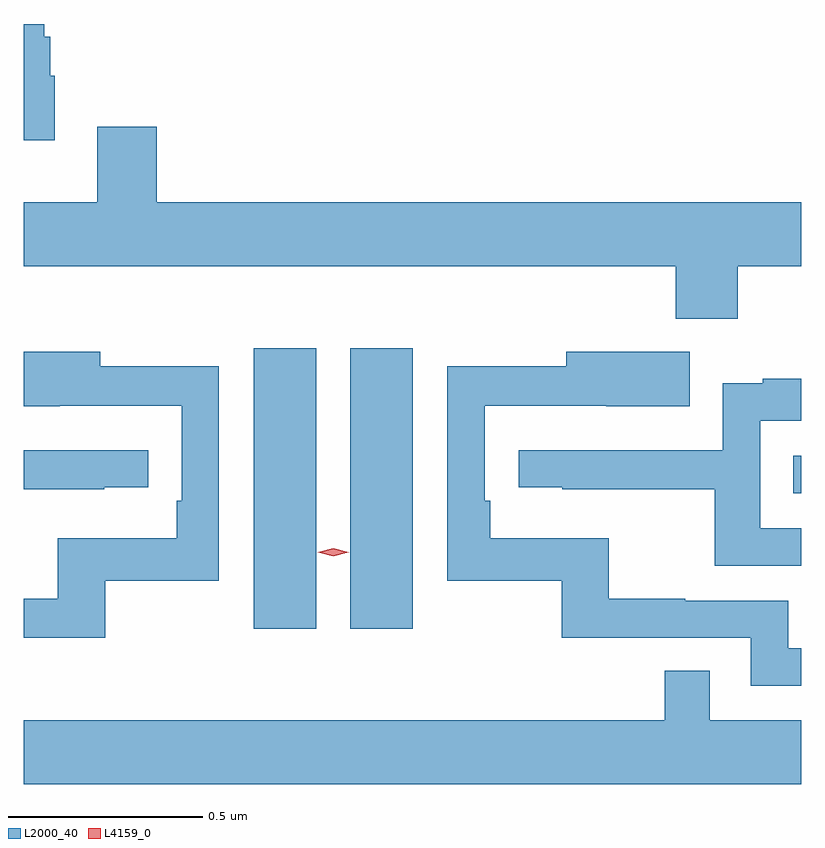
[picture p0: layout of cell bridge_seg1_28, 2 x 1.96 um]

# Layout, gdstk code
import gdstk
lib = gdstk.Library(unit=1e-6, precision=1e-09)
def R(c, l, rs):  # rectangles x0, y0, x1, y1
    for r in rs: c.add(gdstk.rectangle(r[:2], r[2:], *l))
def P(c, l, *ps):  # polygons
    for p in ps: c.add(gdstk.Polygon(p, *l))
L2000_40 = (2000, 40)
L4159_0 = (4159, 0)

bridge_seg1_28 = lib.new_cell('bridge_seg1_28')
R(bridge_seg1_28, L2000_40, [(988.505,581.436,988.666,582.157), (988.754,581.436,988.915,582.157), (989.893,581.784,989.914,581.88)])
P(bridge_seg1_28, L2000_40, [(987.994,582.858),(987.982,582.858),(987.982,582.958),(987.967,582.958),(987.967,582.991),(987.914,582.991),(987.914,582.692),(987.994,582.692)],
  [(989.751,582.368),(989.914,582.368),(989.914,582.532),(988.256,582.532),(988.256,582.727),(988.103,582.727),(988.103,582.532),(987.914,582.532),(987.914,582.368),(989.591,582.368),(989.591,582.233),(989.751,582.233)],
  [(988.123,581.559),(988.416,581.559),(988.416,582.11),(988.111,582.11),(988.111,582.148),(987.914,582.148),(987.914,582.008),(988.007,582.008),(988.007,582.009),(988.32,582.009),(988.32,581.764),(988.307,581.764),(988.307,581.668),(988.002,581.668),(988.002,581.513),(987.914,581.513),(987.914,581.412),(988.123,581.412)],
  [(989.914,581.385),(989.88,581.385),(989.88,581.508),(989.615,581.508),(989.615,581.513),(989.419,581.513),(989.419,581.668),(989.114,581.668),(989.114,581.764),(989.1,581.764),(989.1,582.009),(989.413,582.009),(989.413,582.008),(989.627,582.008),(989.627,582.148),(989.309,582.148),(989.309,582.11),(989.004,582.11),(989.004,581.559),(989.298,581.559),(989.298,581.412),(989.784,581.412),(989.784,581.289),(989.914,581.289)],
  [(989.914,581.694),(989.808,581.694),(989.808,581.97),(989.914,581.97),(989.914,582.079),(989.815,582.079),(989.815,582.067),(989.712,582.067),(989.712,581.895),(989.187,581.895),(989.187,581.799),(989.299,581.799),(989.299,581.794),(989.692,581.794),(989.692,581.598),(989.914,581.598)],
  [(988.121,581.799),(988.234,581.799),(988.234,581.895),(987.914,581.895),(987.914,581.794),(988.121,581.794)],
  [(989.914,581.2),(989.679,581.2),(989.679,581.327),(989.563,581.327),(989.563,581.2),(987.914,581.2),(987.914,581.036),(989.914,581.036)])
P(bridge_seg1_28, L4159_0, [(988.71,581.622),(988.67,581.632),(988.67,581.632),(988.67,581.632),(988.71,581.642),(988.75,581.632),(988.75,581.632),(988.75,581.632)])

lib.write_gds('bridge_seg1_28.gds')
